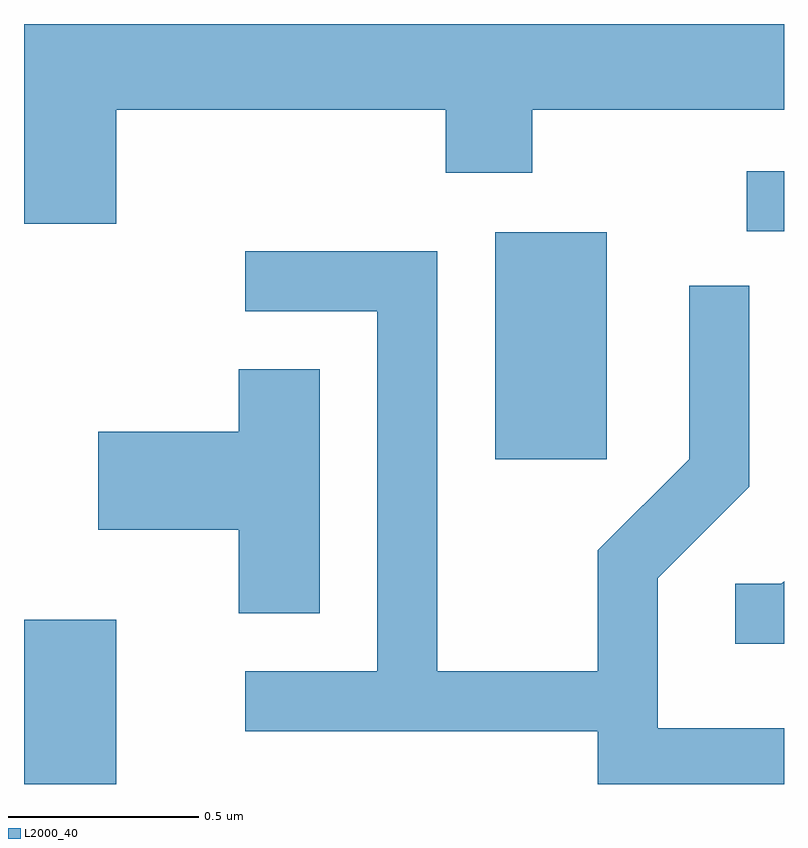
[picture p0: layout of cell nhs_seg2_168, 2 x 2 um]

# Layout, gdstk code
import gdstk
lib = gdstk.Library(unit=1e-6, precision=1e-09)
def R(c, l, rs):  # rectangles x0, y0, x1, y1
    for r in rs: c.add(gdstk.rectangle(r[:2], r[2:], *l))
def P(c, l, *ps):  # polygons
    for p in ps: c.add(gdstk.Polygon(p, *l))
L2000_40 = (2000, 40)

nhs_seg2_168 = lib.new_cell('nhs_seg2_168')
R(nhs_seg2_168, L2000_40, [(186.611,1008.802,186.854,1009.234), (187.851,1009.656,188.144,1010.254), (188.513,1010.256,188.611,1010.414)])
P(nhs_seg2_168, L2000_40, [(186.854,1010.576),(187.721,1010.576),(187.721,1010.411),(187.949,1010.411),(187.949,1010.576),(188.611,1010.576),(188.611,1010.802),(186.611,1010.802),(186.611,1010.276),(186.854,1010.276)],
  [(188.611,1008.949),(188.279,1008.949),(188.279,1009.344),(188.519,1009.584),(188.519,1010.113),(188.361,1010.113),(188.361,1009.657),(188.121,1009.417),(188.121,1009.099),(187.699,1009.099),(187.699,1010.204),(187.193,1010.204),(187.193,1010.046),(187.541,1010.046),(187.541,1009.099),(187.193,1009.099),(187.193,1008.941),(188.121,1008.941),(188.121,1008.802),(188.611,1008.802)],
  [(187.389,1009.894),(187.176,1009.894),(187.176,1009.729),(186.806,1009.729),(186.806,1009.471),(187.176,1009.471),(187.176,1009.251),(187.389,1009.251)],
  [(188.611,1009.336),(188.604,1009.329),(188.483,1009.329),(188.483,1009.171),(188.611,1009.171)])

lib.write_gds('nhs_seg2_168.gds')
